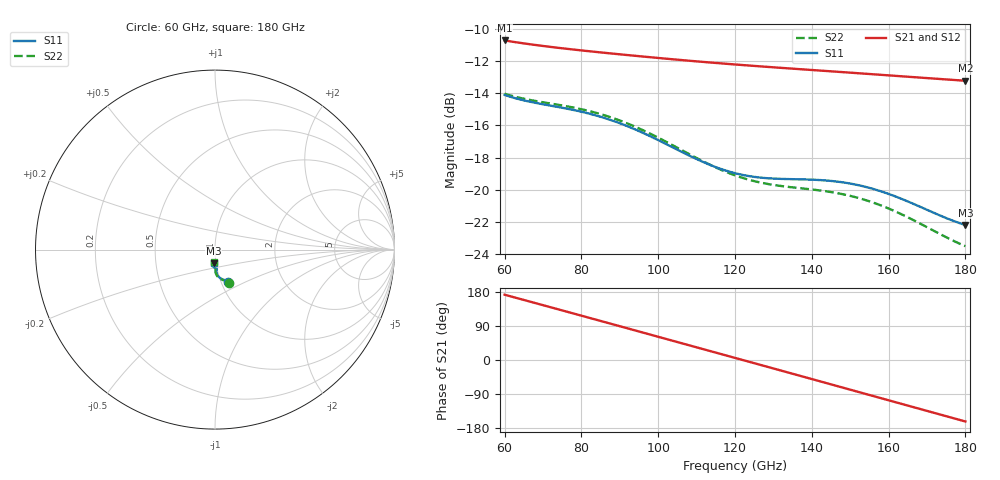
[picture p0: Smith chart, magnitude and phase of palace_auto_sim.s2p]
#  GHZ S DB R 50
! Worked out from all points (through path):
!   101 points, 60 GHz to 180 GHz, reference 50 ohm
!   highest |S21| = -10.72 dB at 60 GHz (marker M1); lowest = -13.2 dB at 180 GHz (marker M2)
!   group delay of S21, straight-line fit = 7.75 ps
!   lowest |S11| = -22.2 dB at 180 GHz (marker M3), VSWR 1.17, Z = 48.8 - j7.6 ohm
!   |S11| at or under -10 dB: start of sweep to end of sweep
!   |S22| runs from -23.5 to -14.0 dB; largest |S21 - S12| = 0
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60  -14.11 -68.3  -10.72 172.3  -10.72 172.3  -14.03 -67.6
64.8  -14.43 -68.7  -10.90 159.0  -10.90 159.0  -14.33 -68.1
69.6  -14.67 -69.7  -11.05 145.8  -11.05 145.8  -14.55 -69.3
75.6  -14.93 -71.9  -11.22 129.2  -11.22 129.2  -14.79 -71.7
80.4  -15.17 -74.3  -11.35 115.9  -11.35 115.9  -15.02 -74.3
85.2  -15.48 -77.0  -11.47 102.5  -11.47 102.5  -15.31 -77.2
90  -15.87 -79.7  -11.58 89.2  -11.58 89.2  -15.70 -80.2
94.8  -16.33 -82.2  -11.69 75.8  -11.69 75.8  -16.17 -83.1
100.8  -17.01 -84.7  -11.83 59.1  -11.83 59.1  -16.86 -86.2
110.4  -18.14 -86.3  -12.03 32.3  -12.03 32.3  -18.08 -88.8
115.2  -18.61 -86.0  -12.12 18.9  -12.12 18.9  -18.64 -89.0
120  -18.97 -85.3  -12.21 5.6  -12.21 5.6  -19.11 -88.6
124.8  -19.19 -84.6  -12.30 -7.8  -12.30 -7.8  -19.45 -88.0
129.6  -19.30 -84.2  -12.38 -21.2  -12.38 -21.2  -19.69 -87.6
134.4  -19.34 -84.5  -12.46 -34.6  -12.46 -34.6  -19.84 -87.7
140.4  -19.38 -85.9  -12.56 -51.4  -12.56 -51.4  -20.00 -88.6
146.4  -19.49 -88.1  -12.66 -68.2  -12.66 -68.2  -20.20 -90.5
151.2  -19.67 -90.3  -12.74 -81.6  -12.74 -81.6  -20.45 -92.3
156  -19.95 -92.5  -12.82 -95.1  -12.82 -95.1  -20.80 -94.2
160.8  -20.33 -94.4  -12.90 -108.5  -12.90 -108.5  -21.25 -95.9
170.4  -21.29 -96.3  -13.07 -135.4  -13.07 -135.4  -22.38 -97.3
180  -22.19 -94.6  -13.23 -162.3  -13.23 -162.3  -23.51 -94.8
